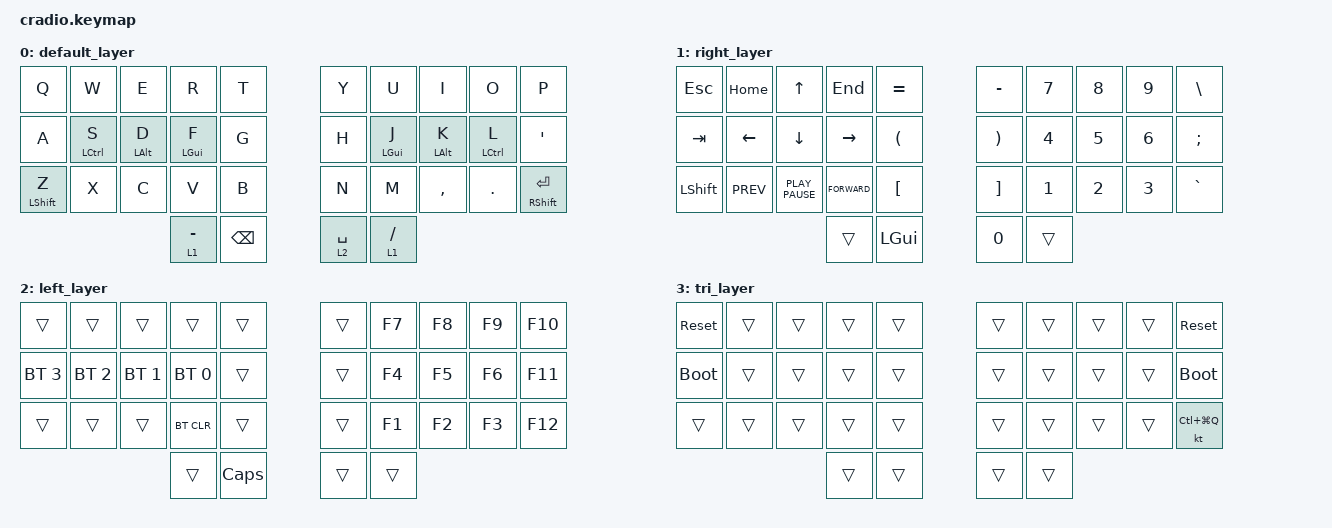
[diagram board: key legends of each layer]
// Copyright (c) 2022 The ZMK Contributors
// SPDX-License-Identifier: MIT

#include <behaviors.dtsi>
#include <dt-bindings/zmk/bt.h>
#include <dt-bindings/zmk/keys.h>

// Home row mods macro

#define HRML(k1,k2,k3,k4) &ht LSHFT k1  &ht LALT k2  &ht LCTRL k3  &ht LGUI k4
#define HRMR(k1,k2,k3,k4) &ht RGUI k1  &ht RCTRL k2  &ht RALT k3  &ht RSHFT k4

/ {
    behaviors {
        ht: hold_tap {
            label = "hold_tap";
            compatible = "zmk,behavior-hold-tap";
            #binding-cells = <2>;
            flavor = "tap-preferred";
            tapping-term-ms = <220>;
            quick-tap-ms = <220>;
            require-prior-idle-ms = <100>;
            bindings = <&kp>, <&kp>;
        };
    };

    conditional_layers {
        compatible = "zmk,conditional-layers";

        tri_layer {
            if-layers = <1 2>;
            then-layer = <3>;
        };
    };

    keymap {
        compatible = "zmk,keymap";

        default_layer {
            bindings = <
&kp Q        &kp W        &kp E       &kp R        &kp T            &kp Y        &kp U        &kp I       &kp O        &kp P
&kp A        &ht LCTRL S  &ht LALT D  &ht LGUI F   &kp G            &kp H        &ht LGUI J   &ht LALT K  &ht LCTRL L  &kp SQT
&ht LSHFT Z  &kp X        &kp C       &kp V        &kp B            &kp N        &kp M        &kp COMMA   &kp PERIOD   &ht RSHFT ENTER
                                      &lt 1 MINUS  &kp BACKSPACE    &lt 2 SPACE  &lt 1 SLASH
            >;
        };

        right_layer {
            bindings = <
&kp ESC    &kp HOME    &kp UP_ARROW      &kp END        &kp EQUAL               &kp MINUS              &kp N7        &kp N8        &kp N9        &kp BACKSLASH
&kp TAB    &kp LEFT    &kp DOWN          &kp RIGHT      &kp LEFT_PARENTHESIS    &kp RIGHT_PARENTHESIS  &kp NUMBER_4  &kp N5        &kp NUMBER_6  &kp SEMICOLON
&kp LSHFT  &kp K_PREV  &kp K_PLAY_PAUSE  &kp K_FORWARD  &kp LEFT_BRACKET        &kp RIGHT_BRACKET      &kp NUMBER_1  &kp NUMBER_2  &kp NUMBER_3  &kp GRAVE
                                         &trans         &kp LGUI                &kp N0                 &trans
            >;
        };

        left_layer {
            bindings = <
&trans        &trans        &trans        &trans        &trans      &trans  &kp F7  &kp F8  &kp F9  &kp F10
&bt BT_SEL 3  &bt BT_SEL 2  &bt BT_SEL 1  &bt BT_SEL 0  &trans      &trans  &kp F4  &kp F5  &kp F6  &kp F11
&trans        &trans        &trans        &bt BT_CLR    &trans      &trans  &kp F1  &kp F2  &kp F3  &kp F12
                                          &trans        &kp CAPS    &trans  &trans
            >;
        };

        tri_layer {
            bindings = <
&sys_reset   &trans  &trans  &trans  &trans    &trans  &trans  &trans  &trans  &sys_reset
&bootloader  &trans  &trans  &trans  &trans    &trans  &trans  &trans  &trans  &bootloader
&trans       &trans  &trans  &trans  &trans    &trans  &trans  &trans  &trans  &kt LC(LG(Q))
                             &trans  &trans    &trans  &trans
            >;
        };
    };
};
